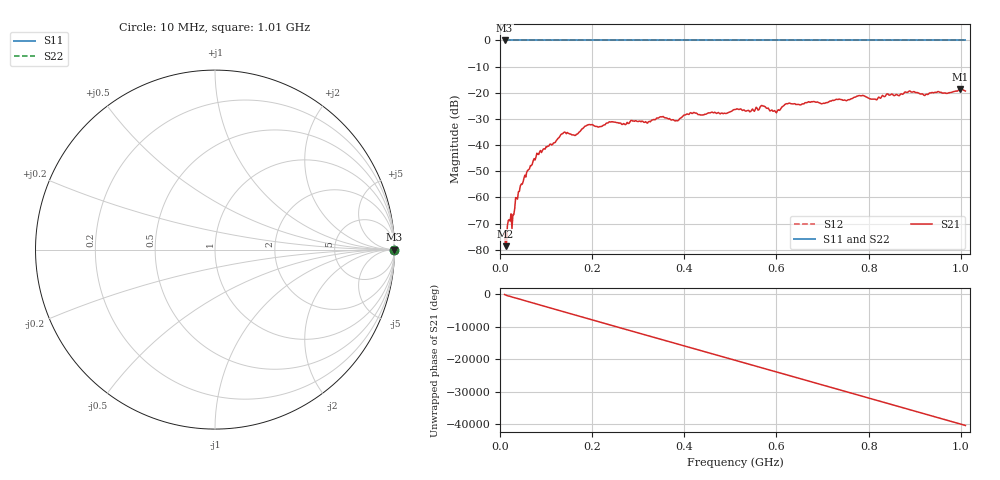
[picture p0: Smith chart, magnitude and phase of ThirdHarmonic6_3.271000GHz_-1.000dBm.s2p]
! 8/17/2025 10:07:19 AM
! C:\ANRITSUVNA\TEMP\TEMP.S2P
! CHANNEL.1
! TR.MEASUREMENT
! RAW.DATA
! RF.CORRECTION.OFF
! AVERAGING.OFF
! IF.BANDWIDTH: 5KHZ
! SWEEPTYPE:  FREQ.SWEEP(Linear)
! Reference Plane Port Info
! PORT:  PORT1  PORT2
! DISTANCE:  0  m  0  m
! TIME:  0  s  0  s
! PHASE.OFFSET:  0  deg.  0  deg.
! LOSS:  0  dB  0  dB
! REF.LOSS:  0  dB  0  dB
! REF.FREQ:  0  Hz  0  Hz
! Power Info
! POWER:  -20  dBm  -20  dBm
! EFF.POWER:  -20  dBm  -20  dBm
! SOURCE.ATTEN:  0  dB  0  dB
! TEST.ATTEN:  0  dB  0  dB
# GHZ S RI R 50.0
! FREQ.GHZ  S11RE  S11IM  S21RE  S21IM  S12RE  S12IM  S22RE  S22IM
!; PortSelection: Port_12
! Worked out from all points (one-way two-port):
!   501 points, 10 MHz to 1.01 GHz, reference 50 ohm
!   highest |S21| = -18.60 dB at 998 MHz (marker M1); lowest = -78.7 dB at 12 MHz (marker M2)
!   lowest |S11| = 0.0 dB at 10 MHz (marker M3)
!   |S11| at or under -10 dB: nowhere
!   |S22| runs from 0.0 to 0.0 dB; largest |S21 - S12| = 1.1
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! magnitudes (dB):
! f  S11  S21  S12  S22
! 10 MHz  0.0  -73.6  0.0  0.0
! 12 MHz  0.0  -78.7  0.0  0.0
! 20 MHz  0.0  -68.5  0.0  0.0
! 28 MHz  0.0  -66.6  0.0  0.0
! 44 MHz  0.0  -55.7  0.0  0.0
! 78 MHz  0.0  -44.7  0.0  0.0
! 136 MHz  0.0  -35.6  0.0  0.0
! 164 MHz  0.0  -36.3  0.0  0.0
! 178 MHz  0.0  -33.8  0.0  0.0
! 344 MHz  0.0  -29.7  0.0  0.0
! 384 MHz  0.0  -30.7  0.0  0.0
! 416 MHz  0.0  -27.9  0.0  0.0
! 510 MHz  0.0  -26.4  0.0  0.0
! 570 MHz  0.0  -25.0  0.0  0.0
! 596 MHz  0.0  -26.8  0.0  0.0
! 624 MHz  0.0  -24.2  0.0  0.0
! 678 MHz  0.0  -23.4  0.0  0.0
! 784 MHz  0.0  -21.2  0.0  0.0
! 814 MHz  0.0  -22.4  0.0  0.0
! 844 MHz  0.0  -20.9  0.0  0.0
! 998 MHz  0.0  -18.6  0.0  0.0
! 1.01 GHz  0.0  -19.3  0.0  0.0
